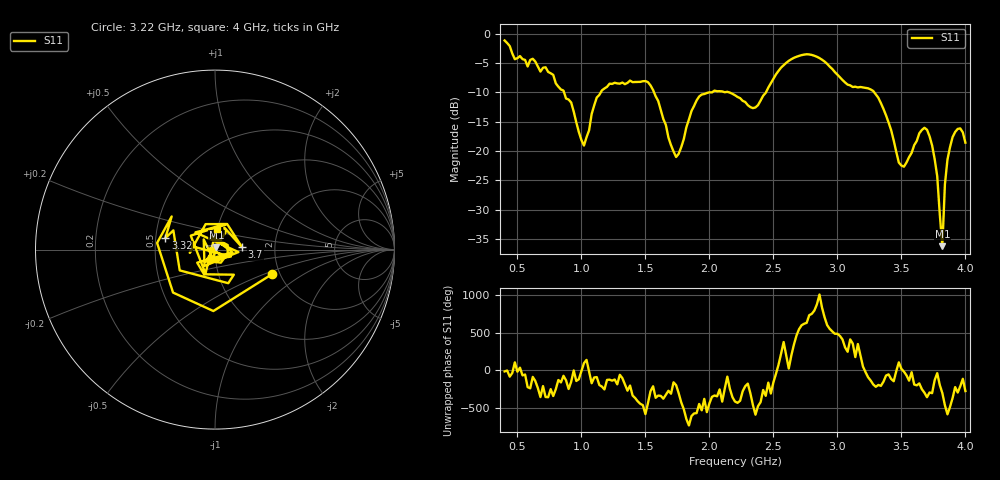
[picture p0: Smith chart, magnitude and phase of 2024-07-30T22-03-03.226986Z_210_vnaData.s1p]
!Created with skrf (http://scikit-rf.org).
# Hz S RI R 50.0
!freq ReS11 ImS11
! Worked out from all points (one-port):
!   181 points, 400 MHz to 4 GHz, reference 50 ohm
!   lowest |S11| = -36.2 dB at 3.82 GHz (marker M1), VSWR 1.03, Z = 50.8 + j1.35 ohm
!   |S11| at or under -10 dB: 1.567 GHz to 1.999 GHz (431.9 MHz wide, 24.2 % of centre); 2.153 GHz to 2.442 GHz (288.6 MHz wide, 12.6 % of centre); 3.288 GHz to end of sweep (the widest 3 of 5)
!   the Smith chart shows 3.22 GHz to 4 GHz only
!   S11 on the Smith chart (normalised r, x): 3.22 GHz: 1.81, -0.57; 3.32 GHz: 0.56, +0.08; 3.7 GHz: 1.36, +0.03; 4 GHz: 0.99, +0.24
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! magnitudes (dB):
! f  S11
! 400 MHz  -1.2
! 480 MHz  -4.4
! 620 MHz  -4.3
! 860 MHz  -9.7
! 1.02 GHz  -19.1
! 1.12 GHz  -10.9
! 1.3 GHz  -8.5
! 1.52 GHz  -8.3
! 1.6 GHz  -11.5
! 1.72 GHz  -20.1
! 1.76 GHz  -20.5
! 1.92 GHz  -10.7
! 2.2 GHz  -10.5
! 2.36 GHz  -12.6
! 2.66 GHz  -4.1
! 2.84 GHz  -3.9
! 3.1 GHz  -8.8
! 3.22 GHz  -9.2
! 3.32 GHz  -10.9
! 3.48 GHz  -22.0
! 3.56 GHz  -21.0
! 3.7 GHz  -16.4
! 3.78 GHz  -24.3
! 3.82 GHz  -36.2
! 3.84 GHz  -25.7
! 3.88 GHz  -19.3
! 3.94 GHz  -16.2
! 4 GHz  -18.6
